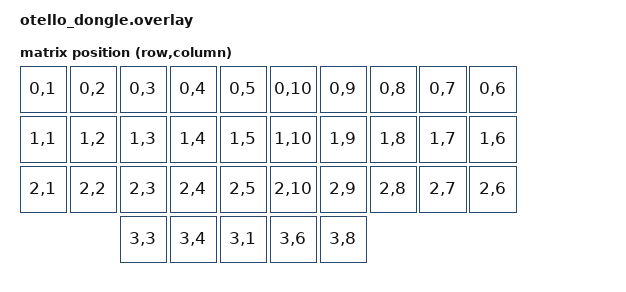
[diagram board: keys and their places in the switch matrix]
// Documentation: https://zmk.dev/docs/development/hardware-integration/dongle
#include <dt-bindings/zmk/matrix_transform.h>
#include "../../config/otello-layouts.dtsi"

&otello_physical_layout {
    transform = <&default_transform>;
};

/ {
    chosen {
        zmk,kscan           = &kscan0;
        zmk,physical-layout = &otello_physical_layout;
        zmk,input-device    = &trackball_split;
        zephyr,display      = &oled;
    };

    kscan0: kscan_1 {
        compatible = "zmk,kscan-mock";
        columns    = <0>;
        rows       = <0>;
        events     = <0>;
    };

    default_transform: keymap_transform_0 {
        compatible = "zmk,matrix-transform";
        columns = <10>;
        rows = <4>;

        map = <
	RC(0,1) RC(0,2) RC(0,3) RC(0,4) RC(0,5)  RC(0,10) RC(0,9) RC(0,8) RC(0,7) RC(0,6)
	RC(1,1) RC(1,2) RC(1,3) RC(1,4) RC(1,5)  RC(1,10) RC(1,9) RC(1,8) RC(1,7) RC(1,6)
	RC(2,1) RC(2,2) RC(2,3) RC(2,4) RC(2,5)  RC(2,10) RC(2,9) RC(2,8) RC(2,7) RC(2,6)
					RC(3,3) RC(3,4) RC(3,1)  RC(3,6)  RC(3,8)
        >;
    };

    central: bt_central {
        compatible = "zmk,ble-central";
        peripherals = <&left_peripheral &right_peripheral>;
    };

    left_peripheral: bt_left {
        compatible = "zmk,ble-peripheral";
        local-name = "otello_left";
    };

    right_peripheral: bt_right {
        compatible = "zmk,ble-peripheral";
        local-name = "otello_right";
    };

    /* The dongle is the central - it receives trackball data over BLE from the
       right peripheral via zmk,input-split. No SPI or PMW3610 hardware here. */
    split_inputs {
        #address-cells = <1>;
        #size-cells = <0>;

        trackball_split: trackball_split@0 {
            compatible = "zmk,input-split";
            reg = <0>;
        };
    };

    trackball_listener: trackball_listener {
        compatible = "zmk,input-listener";
        status = "disabled";
        device = <&trackball_split>;
    };
};

/* Ambient light sensor not installed on dongle - disable I2C1 to prevent
   nRF52840 TWIM from hanging on probe (no ACK -> WDT reset loop) */
&i2c1 { status = "disabled"; };

&pro_micro_i2c {
    status = "okay";

    oled: sh1106@3c {
        compatible = "sinowealth,sh1106";
        reg = <0x3c>;
        width = <128>;
        height = <64>;
        segment-offset = <2>;
        page-offset = <0>;
        display-offset = <0>;
        multiplex-ratio = <63>;
        segment-remap;
        com-invdir;
        inversion-on;
        prechargep = <0x22>;
    };
};

/* otello_pointer.dtsi references &trackball_listener - must come after node definition */
#include "../../config/trackball/otello_pointer.dtsi"

&trackball_split {
    status = "okay";
};

&trackball_listener {
    status = "okay";
};
